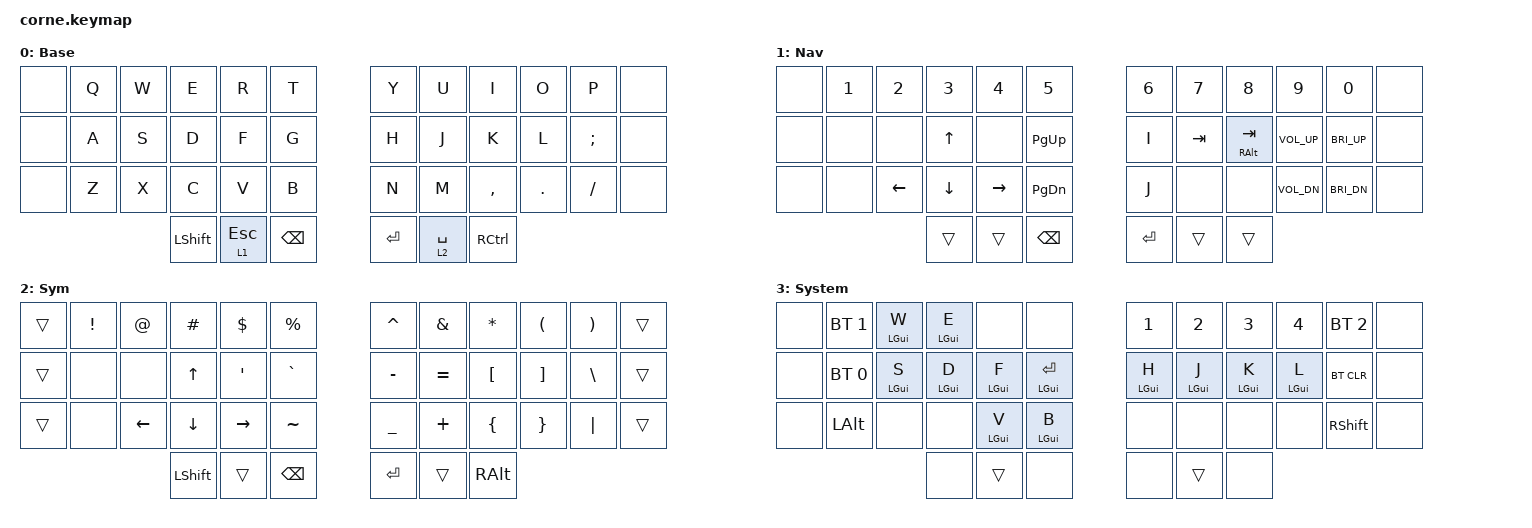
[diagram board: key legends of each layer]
#include <behaviors.dtsi>
#include <dt-bindings/zmk/bt.h>
#include <dt-bindings/zmk/keys.h>

#define DEF 0
#define NAV 1
#define SYM 2
#define ADJ 3

//testing mouse movement and scroll binds...

/ {
    combos { compatible = "zmk,combos"; };

    //

    keymap {
        compatible = "zmk,keymap";

        DEF {
            display-name = "Base";

            // -----------------------------------------------------------------------------------------
            // |  Q  |  W  |  E  |  R  |  T  |   |  Y  |  U   |  I  |  O  |  P  |
            // |  A  |  S  |  D  |  F  |  G  |   |  H  |  J   |  K  |  L  |  ;  |
            // |  Z  |  X  |  C  |  V  |  B  |   |  N  |  M   |  ,  |  .  |  /  |
            // | GUI | CTRL | SHFT | LWR | SPC |   | ENT | RSE  | BKSP | ALT | ESC |

            bindings = <
&none  &kp Q  &kp W  &kp E           &kp R      &kp T            &kp Y    &kp U        &kp I      &kp O    &kp P          &none
&none  &kp A  &kp S  &kp D           &kp F      &kp G            &kp H    &kp J        &kp K      &kp L    &kp SEMICOLON  &none
&none  &kp Z  &kp X  &kp C           &kp V      &kp B            &kp N    &kp M        &kp COMMA  &kp DOT  &kp FSLH       &none
                     &kp LEFT_SHIFT  &lt 1 ESC  &kp BACKSPACE    &kp RET  &lt 2 SPACE  &kp RCTRL
            >;
        };

        NAV {
            display-name = "Nav";

            // -----------------------------------------------------------------------------------------
            // |  TAB |  1  |  2  |  3  |  4  |  5  |   |  6  |  7  |  8  |  9  |  0  | BKSP |
            // | BTCLR| BT1 | BT2 | BT3 | BT4 | BT5 |   | LFT | DWN |  UP | RGT |     |      |
            // | SHFT |     |     |     |     |     |   |     |     |     |     |     |      |
            // | GUI | CTRL | SHFT | LWR | SPC |   | ENT | RSE  | BKSP | ALT | ESC |

            bindings = <
&none  &kp N1  &kp N2    &kp N3    &kp N4           &kp N5           &kp N6   &kp N7   &kp N8             &kp N9           &kp N0        &none
&none  &none   &none     &kp UP    &none            &kp PAGE_UP      &kp I    &kp TAB  &mt RIGHT_ALT TAB  &kp C_VOLUME_UP  &kp C_BRI_UP  &none
&none  &none   &kp LEFT  &kp DOWN  &kp RIGHT_ARROW  &kp PAGE_DOWN    &kp J    &none    &none              &kp C_VOL_DN     &kp C_BRI_DN  &none
                         &trans    &trans           &kp BACKSPACE    &kp RET  &trans   &trans
            >;
        };

        SYM {
            display-name = "Sym";

            // -----------------------------------------------------------------------------------------
            // |  TAB |  !  |  @  |  #  |  $  |  %  |   |  ^  |  &  |  *  |  (  |  )  | BKSP |
            // | CTRL |     |     |     |     |     |   |  -  |  =  |  [  |  ]  |  \  |  `   |
            // | SHFT |     |     |     |     |     |   |  _  |  +  |  {  |  }  | "|" |  ~   |
            //                    | GUI |     | SPC |   | ENT |     | ALT |

            bindings = <
&trans  &kp EXCL  &kp AT          &kp HASH        &kp DLLR          &kp PRCNT        &kp CARET  &kp AMPS   &kp ASTRK         &kp LEFT_PARENTHESIS  &kp RPAR       &trans
&trans  &none     &none           &kp UP          &kp SINGLE_QUOTE  &kp GRAVE        &kp MINUS  &kp EQUAL  &kp LEFT_BRACKET  &kp RIGHT_BRACKET     &kp BACKSLASH  &trans
&trans  &none     &kp LEFT_ARROW  &kp DOWN_ARROW  &kp RIGHT_ARROW   &kp TILDE        &kp UNDER  &kp PLUS   &kp LBRC          &kp RBRC              &kp PIPE       &trans
                                  &kp LEFT_SHIFT  &trans            &kp BACKSPACE    &kp RET    &trans     &kp RIGHT_ALT
            >;
        };

        ADJ {
            display-name = "System";
            bindings = <
&none  &bt BT_SEL 1  &mt LEFT_GUI W  &mt LEFT_GUI E  &none           &none                 &kp NUMBER_1    &kp NUMBER_2    &kp NUMBER_3    &kp NUMBER_4    &bt BT_SEL 2     &none
&none  &bt BT_SEL 0  &mt LEFT_GUI S  &mt LEFT_GUI D  &mt LEFT_GUI F  &mt LEFT_GUI ENTER    &mt LEFT_GUI H  &mt LEFT_GUI J  &mt LEFT_GUI K  &mt LEFT_GUI L  &bt BT_CLR       &none
&none  &kp LEFT_ALT  &none           &none           &mt LEFT_GUI V  &mt LEFT_GUI B        &none           &none           &none           &none           &kp RIGHT_SHIFT  &none
                                     &none           &trans          &none                 &none           &trans          &none
            >;
        };
    };

    conditional_layers {
        compatible = "zmk,conditional-layers";

        l3 {
            if-layers = <1 2>;
            then-layer = <3>;
        };
    };
};
